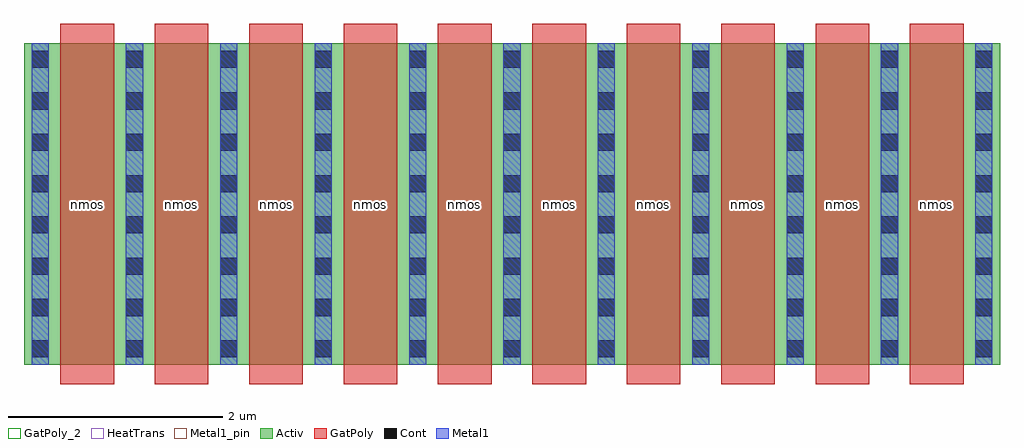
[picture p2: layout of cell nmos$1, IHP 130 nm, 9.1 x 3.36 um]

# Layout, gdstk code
import gdstk
lib = gdstk.Library(unit=1e-6, precision=5e-09)
def R(c, l, rs):  # rectangles x0, y0, x1, y1
    for r in rs: c.add(gdstk.rectangle(r[:2], r[2:], *l))
def A(c, l, x, y, w, h, nx, ny, dx, dy):  # array of equal rectangles
    R(c, l, [(x+i*dx, y+j*dy, x+i*dx+w, y+j*dy+h) for i in range(nx) for j in range(ny)])
Activ = (1, 0)
GatPoly = (5, 0)
GatPoly_2 = (5, 2)
Cont = (6, 0)
Metal1 = (8, 0)
Metal1_pin = (8, 2)
HeatTrans = (51, 0)

nmos_1 = lib.new_cell('nmos$1')
A(nmos_1, Activ, 0, 0, 0.3, 0.3, 11, 1, 0.88, 0)
R(nmos_1, Activ, [(0,0,9.1,3)])
A(nmos_1, GatPoly, 0.34, -0.18, 0.5, 3.36, 10, 1, 0.88, 0)
R(nmos_1, GatPoly_2, [(0.34,-0.18,0.84,3.18)])
A(nmos_1, Cont, 0.07, 0.07, 0.16, 0.16, 11, 7, 0.88, 0.385)
A(nmos_1, Cont, 0.07, 2.77, 0.16, 0.16, 11, 1, 0.88, 0)
A(nmos_1, Metal1, 0.07, 0, 0.16, 3, 11, 1, 0.88, 0)
R(nmos_1, Metal1_pin, [(0.07,0,0.23,3), (0.95,0,1.11,3)])
A(nmos_1, HeatTrans, 0.34, -0.18, 0.5, 3.36, 10, 1, 0.88, 0)
nmos_1.add(gdstk.Label('nmos', (0.59,1.5), layer=63, texttype=0))
nmos_1.add(gdstk.Label('nmos', (0.59,1.5), layer=51, texttype=0))
nmos_1.add(gdstk.Label('nmos', (1.47,1.5), layer=51, texttype=0))
nmos_1.add(gdstk.Label('nmos', (2.35,1.5), layer=51, texttype=0))
nmos_1.add(gdstk.Label('nmos', (3.23,1.5), layer=51, texttype=0))
nmos_1.add(gdstk.Label('nmos', (4.11,1.5), layer=51, texttype=0))
nmos_1.add(gdstk.Label('nmos', (4.99,1.5), layer=51, texttype=0))
nmos_1.add(gdstk.Label('nmos', (5.87,1.5), layer=51, texttype=0))
nmos_1.add(gdstk.Label('nmos', (6.75,1.5), layer=51, texttype=0))
nmos_1.add(gdstk.Label('nmos', (7.63,1.5), layer=51, texttype=0))
nmos_1.add(gdstk.Label('nmos', (8.51,1.5), layer=51, texttype=0))

lib.write_gds('nmos_1.gds')
